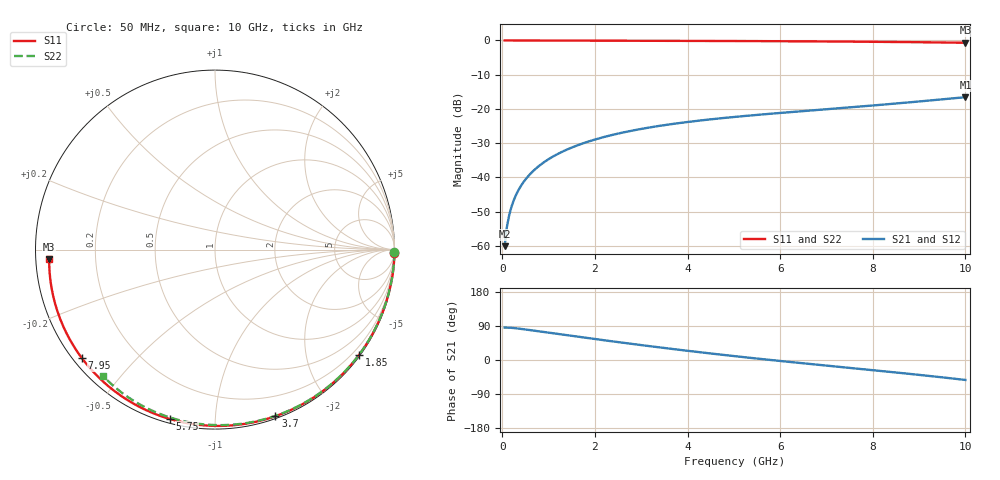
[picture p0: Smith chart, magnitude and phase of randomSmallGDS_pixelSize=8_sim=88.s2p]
! freq	dB(S11)	phase(S11)	dB(S12)	phase(S12)
!  dB(S21)	phase(S21)	dB(S22)	phase(S22)
!S-par simulation data
#  GHz  S  DB  R 50
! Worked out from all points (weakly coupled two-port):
!   200 points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, 50 MHz to 10 GHz, reference 50 ohm
!   highest |S21| = -16.57 dB at 10 GHz (marker M1); lowest = -60.1 dB at 50 MHz (marker M2)
!   lowest |S11| = -0.7 dB at 10 GHz (marker M3), VSWR 25.88, Z = 1.93 - j1.44 ohm
!   |S11| at or under -10 dB: nowhere
!   |S22| runs from -0.5 to 0.0 dB; largest |S21 - S12| = 0
!   S11 on the Smith chart (normalised r, x): 50 MHz: open; 1.85 GHz: 0.03, -3.07; 3.7 GHz: 0.02, -1.43; 5.75 GHz: 0.02, -0.77; 7.95 GHz: 0.02, -0.36; 10 GHz: 0.04, -0.03
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0.05  -0.00 -1.0  -60.11 85.6  -60.11 85.6  -0.00 -0.8
0.1  -0.00 -2.0  -54.40 85.5  -54.40 85.5  -0.00 -1.5
0.15  -0.00 -3.0  -50.98 85.3  -50.98 85.3  -0.00 -2.3
0.2  -0.00 -4.0  -48.52 84.9  -48.52 84.9  -0.00 -3.1
0.35  -0.01 -7.0  -43.70 82.9  -43.70 82.9  -0.00 -5.4
0.5  -0.01 -9.9  -40.63 80.6  -40.63 80.6  -0.01 -7.7
0.7  -0.02 -13.9  -37.73 77.3  -37.73 77.3  -0.01 -10.7
1  -0.03 -19.7  -34.69 72.2  -34.69 72.2  -0.02 -15.3
1.35  -0.04 -26.5  -32.16 66.2  -32.16 66.2  -0.03 -20.5
1.75  -0.05 -34.2  -30.03 59.5  -30.03 59.5  -0.04 -26.5
1.85  -0.05 -36.1  -29.58 57.9  -29.58 57.9  -0.04 -28.0
2.65  -0.07 -51.1  -26.77 44.8  -26.77 44.8  -0.06 -39.7
3.4  -0.10 -64.8  -24.95 33.2  -24.95 33.2  -0.08 -50.3
3.7  -0.11 -70.1  -24.36 28.7  -24.36 28.7  -0.09 -54.5
4.35  -0.13 -81.4  -23.27 19.3  -23.27 19.3  -0.11 -63.4
5.05  -0.17 -93.3  -22.30 9.7  -22.30 9.7  -0.13 -72.7
5.75  -0.20 -105.0  -21.46 0.6  -21.46 0.6  -0.16 -81.7
6.7  -0.27 -120.5  -20.42 -11.2  -20.42 -11.2  -0.21 -93.4
7.95  -0.38 -140.8  -19.06 -26.2  -19.06 -26.2  -0.30 -108.3
8.35  -0.43 -147.5  -18.60 -31.1  -18.60 -31.1  -0.34 -112.9
9.2  -0.54 -162.1  -17.58 -41.8  -17.58 -41.8  -0.43 -122.5
10  -0.67 -176.7  -16.57 -52.6  -16.57 -52.6  -0.53 -131.5
